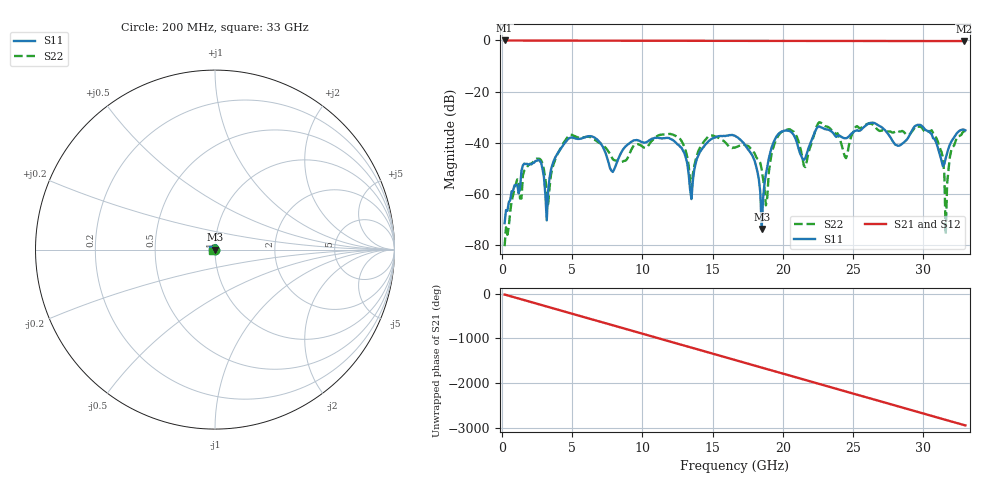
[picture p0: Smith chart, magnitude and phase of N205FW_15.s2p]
# GHZ S RI R 50
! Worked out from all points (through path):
!   329 points, 200 MHz to 33 GHz, reference 50 ohm
!   highest |S21| = -0.02 dB at 200 MHz (marker M1); lowest = -0.3 dB at 32.9 GHz (marker M2)
!   group delay of S21, straight-line fit = 248 ps
!   lowest |S11| = -73.7 dB at 18.5 GHz (marker M3), VSWR 1.00, Z = 50 - j0.0153 ohm
!   |S11| at or under -10 dB: start of sweep to end of sweep
!   |S22| runs from -80.4 to -32.0 dB; largest |S21 - S12| = 0.0022
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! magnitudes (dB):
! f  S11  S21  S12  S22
! 200 MHz  -71.4  0.0  0.0  -80.4
! 1.1 GHz  -56.3  0.0  0.0  -54.3
! 2.7 GHz  -47.1  -0.1  -0.1  -46.3
! 3.2 GHz  -70.4  -0.1  -0.1  -58.7
! 3.7 GHz  -47.0  -0.1  -0.1  -48.1
! 5.7 GHz  -38.3  -0.1  -0.1  -38.1
! 11.2 GHz  -38.2  -0.1  -0.1  -37.0
! 13.5 GHz  -62.0  -0.2  -0.2  -58.2
! 14.7 GHz  -39.5  -0.2  -0.2  -37.5
! 16.6 GHz  -37.3  -0.2  -0.2  -41.9
! 18 GHz  -47.1  -0.2  -0.2  -44.2
! 18.5 GHz  -73.7  -0.2  -0.2  -50.4
! 18.8 GHz  -52.2  -0.2  -0.2  -64.5
! 19.5 GHz  -38.0  -0.2  -0.2  -39.1
! 22.1 GHz  -38.4  -0.2  -0.2  -39.3
! 27.6 GHz  -37.4  -0.2  -0.2  -35.6
! 30.9 GHz  -39.6  -0.3  -0.3  -37.9
! 31.4 GHz  -49.2  -0.3  -0.3  -45.9
! 31.6 GHz  -46.0  -0.3  -0.3  -75.8
! 31.9 GHz  -40.7  -0.3  -0.3  -45.4
! 32.9 GHz  -34.9  -0.3  -0.3  -35.5
! 33 GHz  -35.1  -0.3  -0.3  -35.5
